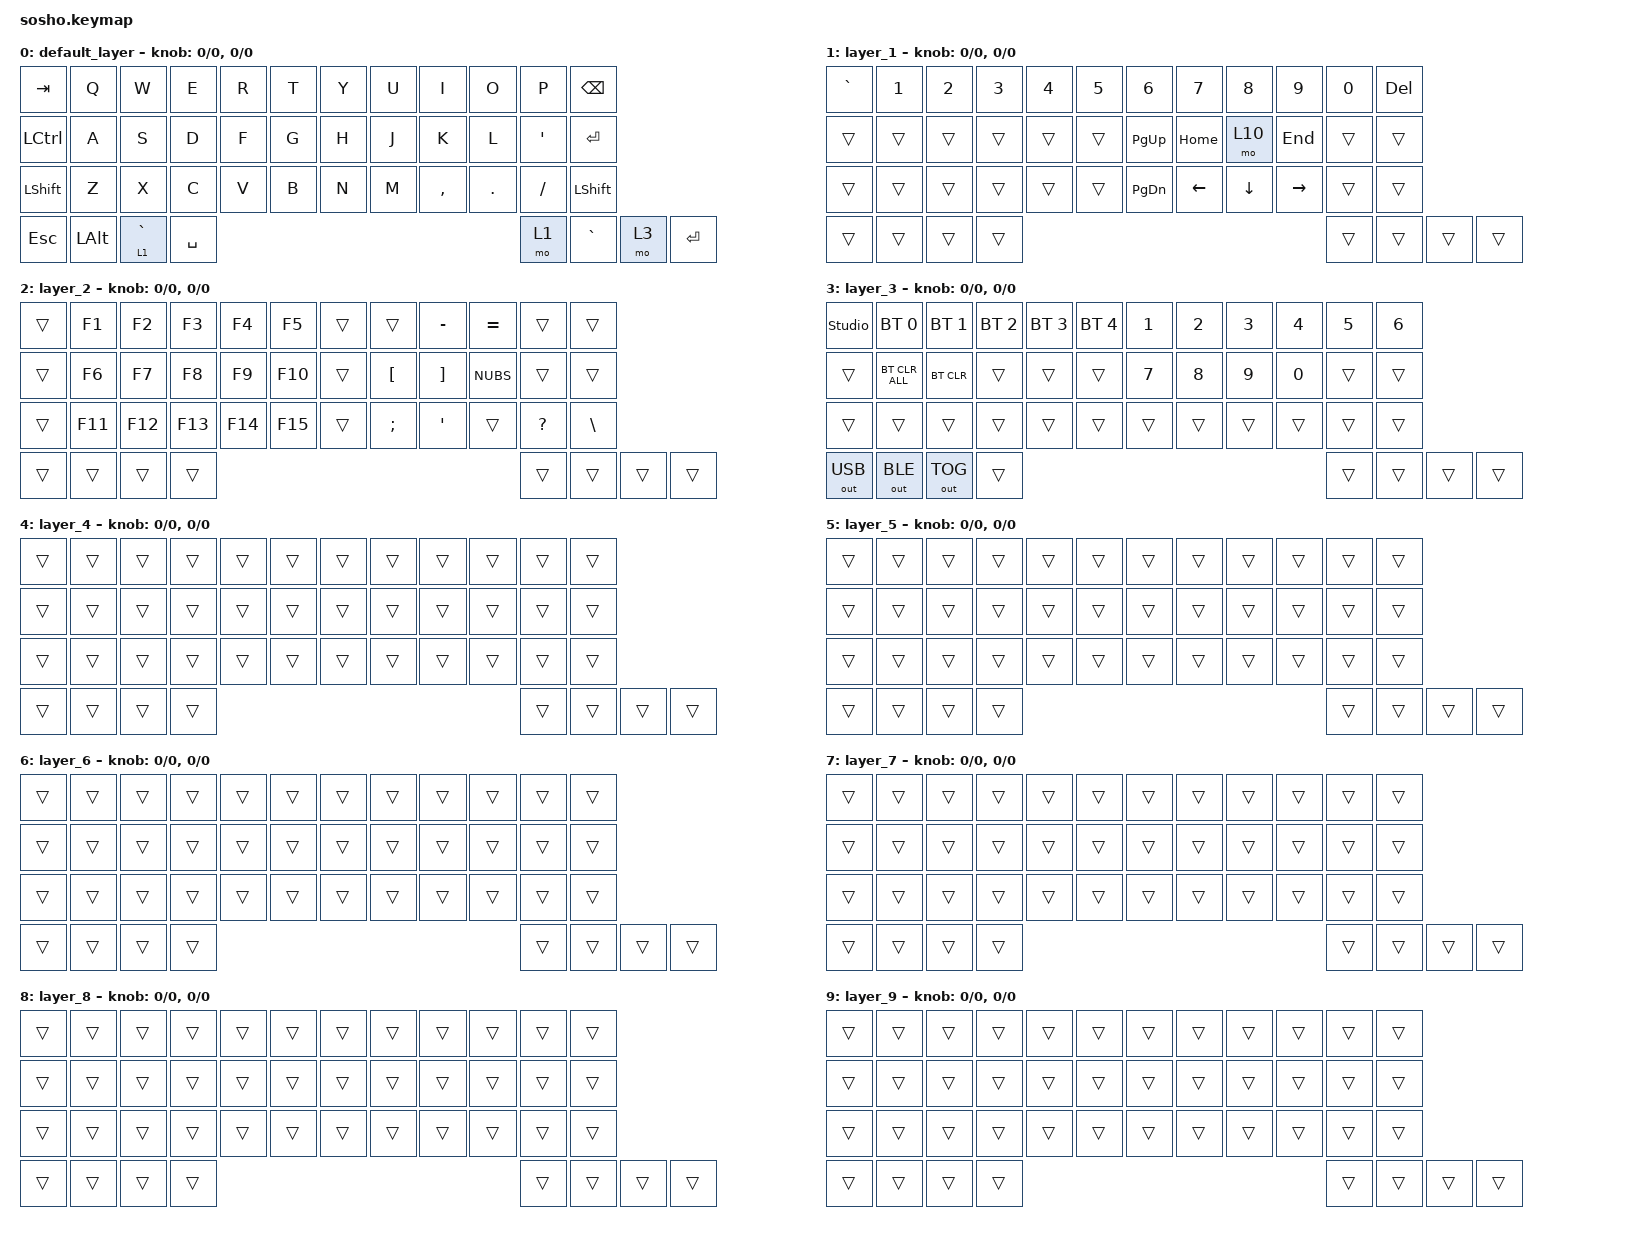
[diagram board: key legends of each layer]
//スクロール量の調整(デフォルト150)
#define ZMK_POINTING_DEFAULT_SCRL_VAL 150

/* Keep the two hold-tap behaviors in the Studio behavior registry even when
 * the compiled default keymap does not reference them.  This is required for
 * Web/ZMK Studio to write a new tap/hold binding over RPC. */
#define ZMK_BEHAVIORS_KEEP_MT
#define ZMK_BEHAVIORS_KEEP_LT
#define ZMK_BEHAVIORS_OMIT_NONE
/* Use the dedicated HID Language 5 usage for the Japanese IME toggle.  An
 * Alt+Grave alias is application-dependent and made Zoho Chat move focus. */
#define SOSHO_HALF_FULL GRAVE
#include <behaviors.dtsi>
#include <dt-bindings/zmk/bt.h>
#include <dt-bindings/zmk/keys.h>
#include <dt-bindings/zmk/pointing.h>
#include <dt-bindings/zmk/outputs.h>

/ {
    behaviors {
        sosho_controls: sosho_controls {
            compatible = "sosho,behavior-controls";
            #binding-cells = <1>;
        };
        sosho_wheel: sosho_wheel {
            compatible = "sosho,behavior-wheel";
            #binding-cells = <1>;
        };
        sosho_runtime_macro: sosho_runtime_macro {
            compatible = "sosho,behavior-runtime-macro";
            #binding-cells = <1>;
        };
        sosho_encoder: sosho_encoder {
            compatible = "sosho,behavior-encoder";
            #sensor-binding-cells = <2>;
        };
        ec_ms_l: ec_ms_h {
            compatible = "zmk,behavior-encoder-mouse-scroll";
            #sensor-binding-cells = <2>;
        };
        ec_ms_r: ec_ms_v {
            compatible = "zmk,behavior-encoder-mouse-scroll";
            #sensor-binding-cells = <2>;
        };
    };
};

//スクロールの調整
&msc {
    time-to-max-speed-ms = <0>;   // 即座に最大速度（加速なし）
    acceleration-exponent = <0>;   // 加速なし
};

/*
 * Allow a deliberate tap without provisionally activating a modifier or layer.
 * Balanced resolution selects hold when another key completes a chord;
 * otherwise the longer tapping term permits normal typing and intentional holds.
 */
&lt {
    tapping-term-ms = <280>;
    quick-tap-ms = <300>;
    flavor = "balanced";
};

&mt {
    tapping-term-ms = <280>;
    quick-tap-ms = <300>;
    flavor = "balanced";
};

/ {
    combos {
        compatible = "zmk,combos";
        //左クリックのコンボ 19はJのキー 20はKのキーに相当します。
        combo_LCLK {
            timeout-ms = <50>;
            key-positions = <19 20>;
            bindings = <&mkp LCLK>;
        };

        //右クリックのコンボ 20 K 21 L
        combo_RCLK {
            timeout-ms = <50>;
            key-positions = <20 21>;
            bindings = <&mkp RCLK>;
        };

        //ホイールクリックのコンボ 19 J 21 L
        combo_MCLK {
            timeout-ms = <90>;
            key-positions = <19 21>;
            bindings = <&mkp MCLK>;
        };
    };
};

/ {
keymap {
    compatible = "zmk,keymap";

    default_layer {
        bindings = <
            &kp TAB    &kp Q   &kp W  &kp E  &kp R  &kp T      &kp Y  &kp U  &kp I      &kp O    &kp P     &kp BSPC
            &kp LCTRL  &kp A   &kp S  &kp D  &kp F  &kp G      &kp H  &kp J  &kp K      &kp L    &kp SQT   &kp ENTER
            &kp LSHFT  &kp Z   &kp X  &kp C  &kp V  &kp B      &kp N  &kp M  &kp COMMA  &kp DOT  &kp SLASH &kp LSHFT
            &kp ESC    &kp LALT              &lt 1 SOSHO_HALF_FULL  &kp SPACE  &mo 1  &kp SOSHO_HALF_FULL              &mo 3     &kp ENTER
        >;
        // Layer 0's right thumb MO(3) key exposes the Layer 3 pairing/numeric
        // fallback without changing the normal typing layer.
        //&ec_ms_lとrは、上のビヘイビアで作ったもの。
        sensor-bindings = <&sosho_encoder 0 0 &sosho_encoder 0 0>;
    };

    layer_1 {
        bindings = <
            &kp SOSHO_HALF_FULL &kp N1  &kp N2  &kp N3  &kp N4  &kp N5       &kp N6    &kp N7   &kp N8   &kp N9    &kp N0 &kp DEL
            &trans    &trans &trans &trans &trans &trans           &kp PG_UP &kp HOME &mo 10   &kp END   &trans &trans
            &trans    &trans &trans &trans &trans &trans           &kp PG_DN &kp LEFT &kp DOWN &kp RIGHT &trans &trans
            &trans    &trans               &trans &trans           &trans    &trans                      &trans &trans
        >;
        sensor-bindings = <&sosho_encoder 0 0 &sosho_encoder 0 0>;
    };

    layer_2 {
        bindings = <
            &trans &kp F1  &kp F2  &kp F3  &kp F4  &kp F5     &trans  &trans    &kp MINUS &kp EQUAL &trans     &trans
            &trans &kp F6  &kp F7  &kp F8  &kp F9  &kp F10    &trans  &kp LBKT  &kp RBKT  &kp NUBS  &trans     &trans
            &trans &kp F11 &kp F12 &kp F13 &kp F14 &kp F15    &trans  &kp SEMI  &kp SQT   &trans    &kp QMARK  &kp BSLH
            &trans &trans                  &trans  &trans     &trans  &trans                        &trans     &trans
        >;
        //レイヤー2のときだけ、左手のエンコーダを回すとボリュームの上下ができるようになっています。
        sensor-bindings = <&sosho_encoder 0 0 &sosho_encoder 0 0>;

    };

    layer_3 {
        bindings = <
            // Pairing fallback: hold the default-layer MO(3) key and use the
            // right half as a numeric keypad. The rightmost bottom key is
            // ENTER for hosts that still request a passkey.
            &studio_unlock &bt BT_SEL 0 &bt BT_SEL 1 &bt BT_SEL 2 &bt BT_SEL 3 &bt BT_SEL 4      &kp N1 &kp N2 &kp N3 &kp N4 &kp N5 &kp N6
            /* Bootloader entry is intentionally palette-only.  A physical
             * bootloader key can be triggered accidentally while Layer 3 is
             * active and leaves the board looking like a failed firmware.
             * Keep the behavior available to the editor, but do not expose it
             * in the factory keymap. */
            &trans &bt BT_CLR_ALL &bt BT_CLR &trans &trans &trans      &kp N7 &kp N8 &kp N9 &kp N0 &trans &trans
            &trans &trans &trans &trans &trans &trans      &trans &trans &trans &trans &trans &trans
            // Hold the Layer 3 key and tap one of the left-side lower keys
            // to select the Studio endpoint. ZMK Studio requires the output
            // endpoint to match the transport used by the client.
            &out OUT_USB &out OUT_BLE               &out OUT_TOG &trans      &trans    &trans                      &trans &trans
        >;
        sensor-bindings = <&sosho_encoder 0 0 &sosho_encoder 0 0>;
    };
    layer_4 {
        bindings = <&trans &trans &trans &trans &trans &trans &trans &trans &trans &trans &trans &trans &trans &trans &trans &trans &trans &trans &trans &trans &trans &trans &trans &trans &trans &trans &trans &trans &trans &trans &trans &trans &trans &trans &trans &trans &trans &trans &trans &trans &trans &trans &trans &trans>;
        sensor-bindings = <&sosho_encoder 0 0 &sosho_encoder 0 0>;
    };
    layer_5 {
        bindings = <&trans &trans &trans &trans &trans &trans &trans &trans &trans &trans &trans &trans &trans &trans &trans &trans &trans &trans &trans &trans &trans &trans &trans &trans &trans &trans &trans &trans &trans &trans &trans &trans &trans &trans &trans &trans &trans &trans &trans &trans &trans &trans &trans &trans>;
        sensor-bindings = <&sosho_encoder 0 0 &sosho_encoder 0 0>;
    };
    layer_6 {
        bindings = <&trans &trans &trans &trans &trans &trans &trans &trans &trans &trans &trans &trans &trans &trans &trans &trans &trans &trans &trans &trans &trans &trans &trans &trans &trans &trans &trans &trans &trans &trans &trans &trans &trans &trans &trans &trans &trans &trans &trans &trans &trans &trans &trans &trans>;
        sensor-bindings = <&sosho_encoder 0 0 &sosho_encoder 0 0>;
    };
    layer_7 {
        bindings = <&trans &trans &trans &trans &trans &trans &trans &trans &trans &trans &trans &trans &trans &trans &trans &trans &trans &trans &trans &trans &trans &trans &trans &trans &trans &trans &trans &trans &trans &trans &trans &trans &trans &trans &trans &trans &trans &trans &trans &trans &trans &trans &trans &trans>;
        sensor-bindings = <&sosho_encoder 0 0 &sosho_encoder 0 0>;
    };
    layer_8 {
        bindings = <&trans &trans &trans &trans &trans &trans &trans &trans &trans &trans &trans &trans &trans &trans &trans &trans &trans &trans &trans &trans &trans &trans &trans &trans &trans &trans &trans &trans &trans &trans &trans &trans &trans &trans &trans &trans &trans &trans &trans &trans &trans &trans &trans &trans>;
        sensor-bindings = <&sosho_encoder 0 0 &sosho_encoder 0 0>;
    };
    layer_9 {
        bindings = <&trans &trans &trans &trans &trans &trans &trans &trans &trans &trans &trans &trans &trans &trans &trans &trans &trans &trans &trans &trans &trans &trans &trans &trans &trans &trans &trans &trans &trans &trans &trans &trans &trans &trans &trans &trans &trans &trans &trans &trans &trans &trans &trans &trans>;
        sensor-bindings = <&sosho_encoder 0 0 &sosho_encoder 0 0>;
    };
    scroll {
        status = "reserved";
    };

    extra2 {
        status = "reserved";
    };
};
};
